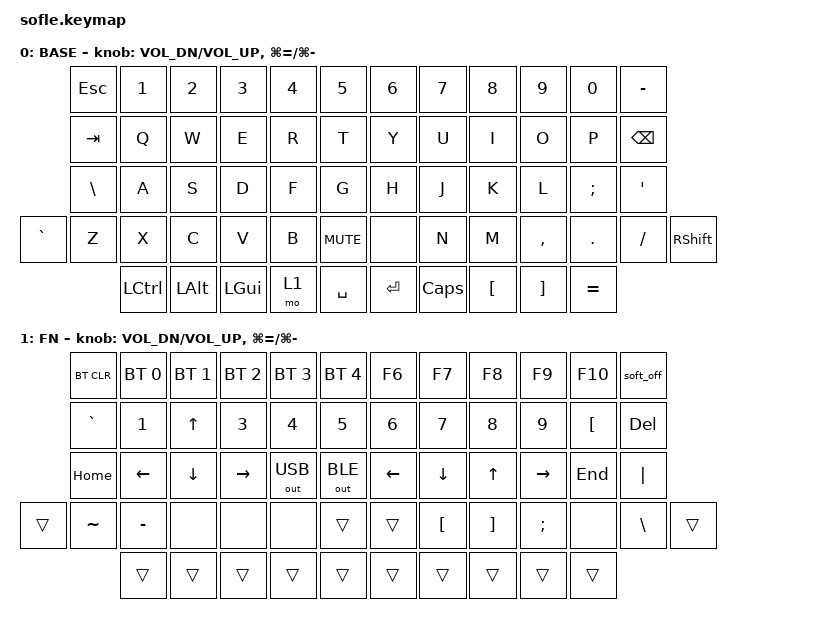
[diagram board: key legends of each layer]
  /*
  * Copyright (c) 2020 The ZMK Contributors
  *
  * SPDX-License-Identifier: MIT
  */

  #include <behaviors.dtsi>
  #include <dt-bindings/zmk/keys.h>
  #include <dt-bindings/zmk/bt.h>
  #include <dt-bindings/zmk/outputs.h>

  / {
    keymap {
      compatible = "zmk,keymap";

      layer0 {
        display-name = "BASE";
        /* Layer 0 - zakladna
         * Shift znaky su v zatvorke. Alt/Option sem nedopisujem, lebo zavisi od OS layoutu.
         * ESC   1(!) 2(@) 3(#) 4($) 5(%)    6(^) 7(&) 8(*) 9(() 0()) -(_)
         * TAB   Q    W    E    R    T        Y    U    I    O    P    BSPC
         * \(|)  A    S    D    F    G        H    J    K    L    ;(:) '(")
         * `(~)  Z    X    C    V    B   MUTE  ·    N    M    ,(<) .(>) /(?) RSHFT
         *
         * LCTRL LALT LGUI MO(1) SPACE   |   ENTER CAPS  [({) ](}) =(+ )

         */
        bindings = <
          &kp ESCAPE &kp N1 &kp N2 &kp N3 &kp N4 &kp N5 &kp N6 &kp N7 &kp N8 &kp N9 &kp N0 &kp MINUS
          &kp TAB &kp Q &kp W &kp E &kp R &kp T &kp Y &kp U &kp I &kp O &kp P &kp BACKSPACE
          &kp BACKSLASH &kp A &kp S &kp D &kp F &kp G &kp H &kp J &kp K &kp L &kp SEMICOLON &kp SINGLE_QUOTE
          &kp GRAVE &kp Z &kp X &kp C &kp V &kp B &kp C_MUTE &none &kp N &kp M &kp COMMA &kp DOT &kp SLASH &kp RIGHT_SHIFT
          &kp LEFT_CONTROL &kp LEFT_ALT &kp LEFT_GUI &mo 1 &kp SPACE &kp ENTER &kp CAPS &kp LEFT_BRACKET &kp RIGHT_BRACKET &kp EQUAL
        >;
        sensor-bindings = <&inc_dec_kp C_VOL_DN C_VOL_UP &inc_dec_kp LG(EQUAL) LG(MINUS)>;
      };

      layer2 {
        display-name = "FN";
        /* Layer 2 - funkcne / symboly / sipky
         * Shift znaky su v zatvorke. Alt/Option sem nedopisujem, lebo zavisi od OS layoutu.
         * BTCLR BT1  BT2  BT3  BT4  BT5      F6   F7   F8   F9   F10  OFF
         * `(~) 1(!) UP   3(#) 4($) 5(%)      6(^) 7(&) 8(*) 9(() [({) DEL
         * HOME  LEFT DOWN RIGHT USB  BLE      LEFT DOWN UP   RIGHT END  |
         * TRNS  ~    -(_) ·    ·    ·        TRNS TRNS [({) ](}) ;(:) · \(|) TRNS
         */
        bindings = <
          &bt BT_CLR &bt BT_SEL 0 &bt BT_SEL 1 &bt BT_SEL 2 &bt BT_SEL 3 &bt BT_SEL 4 &kp F6 &kp F7 &kp F8 &kp F9 &kp F10 &soft_off
          &kp GRAVE &kp N1 &kp UP &kp N3 &kp N4 &kp N5 &kp N6 &kp N7 &kp N8 &kp N9 &kp LEFT_BRACKET &kp DELETE
          &kp HOME &kp LEFT &kp DOWN &kp RIGHT &out OUT_USB &out OUT_BLE &kp LEFT &kp DOWN &kp UP &kp RIGHT &kp END &kp PIPE
          &trans &kp TILDE &kp MINUS &none &none &none &trans &trans &kp LEFT_BRACKET &kp RIGHT_BRACKET &kp SEMICOLON &none &kp BACKSLASH &trans
          &trans &trans &trans &trans &trans &trans &trans &trans &trans &trans
        >;
        sensor-bindings = <&inc_dec_kp C_VOL_DN C_VOL_UP &inc_dec_kp LG(EQUAL) LG(MINUS)>;
      };
    };
  };

  &soft_off {
    hold-time-ms = <2000>;
  };
